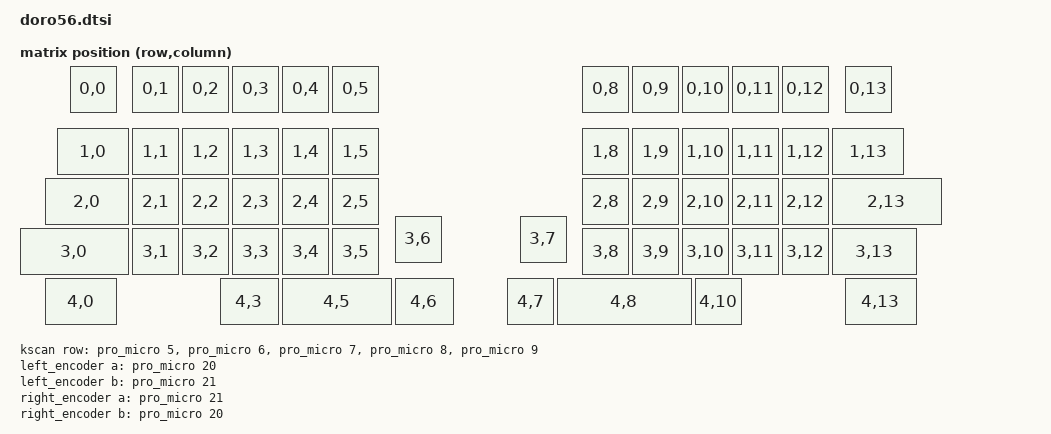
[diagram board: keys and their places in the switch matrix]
#include <physical_layouts.dtsi>
#include <dt-bindings/zmk/matrix_transform.h>

/ {
    chosen {
        zmk,physical-layout = &layout_0;
    };

    transform: keymap_transform {
        compatible = "zmk,matrix-transform";
        columns = <14>;
        rows = <5>;

        map = <
RC(0,0) RC(0,1) RC(0,2) RC(0,3) RC(0,4) RC(0,5)                 RC(0,8) RC(0,9) RC(0,10) RC(0,11) RC(0,12) RC(0,13)
RC(1,0) RC(1,1) RC(1,2) RC(1,3) RC(1,4) RC(1,5)                 RC(1,8) RC(1,9) RC(1,10) RC(1,11) RC(1,12) RC(1,13)
RC(2,0) RC(2,1) RC(2,2) RC(2,3) RC(2,4) RC(2,5)                 RC(2,8) RC(2,9) RC(2,10) RC(2,11) RC(2,12) RC(2,13)
RC(3,0) RC(3,1) RC(3,2) RC(3,3) RC(3,4) RC(3,5) RC(3,6) RC(3,7) RC(3,8) RC(3,9) RC(3,10) RC(3,11) RC(3,12) RC(3,13)
RC(4,0)                 RC(4,3)         RC(4,5) RC(4,6) RC(4,7) RC(4,8)         RC(4,10)                   RC(4,13)
        >;
    };

    kscan: kscan {
        compatible = "zmk,kscan-gpio-matrix";
        diode-direction = "col2row";
        wakeup-source;

        row-gpios
            = <&pro_micro 5 (GPIO_ACTIVE_HIGH | GPIO_PULL_DOWN)> // Row A from the schematic file
            , <&pro_micro 6 (GPIO_ACTIVE_HIGH | GPIO_PULL_DOWN)> // Row B from the schematic file
            , <&pro_micro 7 (GPIO_ACTIVE_HIGH | GPIO_PULL_DOWN)> // Row C from the schematic file
            , <&pro_micro 8 (GPIO_ACTIVE_HIGH | GPIO_PULL_DOWN)> // Row D from the schematic file
            , <&pro_micro 9 (GPIO_ACTIVE_HIGH | GPIO_PULL_DOWN)> // Row E from the schematic file
            ;
    };
    left_encoder: encoder_left {
        compatible = "alps,ec11";
        a-gpios = <&pro_micro 20 (GPIO_ACTIVE_HIGH | GPIO_PULL_UP)>;
        b-gpios = <&pro_micro 21 (GPIO_ACTIVE_HIGH | GPIO_PULL_UP)>;
        steps = <80>;
        status = "disabled";
    };

    right_encoder: encoder_right {
        compatible = "alps,ec11";
        a-gpios = <&pro_micro 21 (GPIO_ACTIVE_HIGH | GPIO_PULL_UP)>;
        b-gpios = <&pro_micro 20 (GPIO_ACTIVE_HIGH | GPIO_PULL_UP)>;
        steps = <80>;
        status = "disabled";
    };

    sensors: sensors {
        compatible = "zmk,keymap-sensors";
        sensors = <&left_encoder &right_encoder>;
        triggers-per-rotation = <20>;
    };

    layout_0: layout_0 {
        compatible = "zmk,physical-layout";
        display-name = "Default";
        kscan = <&kscan>;
        transform = <&transform>;

        keys  //                     w   h    x    y     rot    rx    ry
            = <&key_physical_attrs 100 100  100    0       0     0     0>
            , <&key_physical_attrs 100 100  225    0       0     0     0>
            , <&key_physical_attrs 100 100  325    0       0     0     0>
            , <&key_physical_attrs 100 100  425    0       0     0     0>
            , <&key_physical_attrs 100 100  525    0       0     0     0>
            , <&key_physical_attrs 100 100  625    0       0     0     0>
            , <&key_physical_attrs 100 100 1125    0       0     0     0>
            , <&key_physical_attrs 100 100 1225    0       0     0     0>
            , <&key_physical_attrs 100 100 1325    0       0     0     0>
            , <&key_physical_attrs 100 100 1425    0       0     0     0>
            , <&key_physical_attrs 100 100 1525    0       0     0     0>
            , <&key_physical_attrs 100 100 1650    0       0     0     0>
            , <&key_physical_attrs 150 100   75  125       0     0     0>
            , <&key_physical_attrs 100 100  225  125       0     0     0>
            , <&key_physical_attrs 100 100  325  125       0     0     0>
            , <&key_physical_attrs 100 100  425  125       0     0     0>
            , <&key_physical_attrs 100 100  525  125       0     0     0>
            , <&key_physical_attrs 100 100  625  125       0     0     0>
            , <&key_physical_attrs 100 100 1125  125       0     0     0>
            , <&key_physical_attrs 100 100 1225  125       0     0     0>
            , <&key_physical_attrs 100 100 1325  125       0     0     0>
            , <&key_physical_attrs 100 100 1425  125       0     0     0>
            , <&key_physical_attrs 100 100 1525  125       0     0     0>
            , <&key_physical_attrs 150 100 1625  125       0     0     0>
            , <&key_physical_attrs 175 100   50  225       0     0     0>
            , <&key_physical_attrs 100 100  225  225       0     0     0>
            , <&key_physical_attrs 100 100  325  225       0     0     0>
            , <&key_physical_attrs 100 100  425  225       0     0     0>
            , <&key_physical_attrs 100 100  525  225       0     0     0>
            , <&key_physical_attrs 100 100  625  225       0     0     0>
            , <&key_physical_attrs 100 100 1125  225       0     0     0>
            , <&key_physical_attrs 100 100 1225  225       0     0     0>
            , <&key_physical_attrs 100 100 1325  225       0     0     0>
            , <&key_physical_attrs 100 100 1425  225       0     0     0>
            , <&key_physical_attrs 100 100 1525  225       0     0     0>
            , <&key_physical_attrs 225 100 1625  225       0     0     0>
            , <&key_physical_attrs 225 100    0  325       0     0     0>
            , <&key_physical_attrs 100 100  225  325       0     0     0>
            , <&key_physical_attrs 100 100  325  325       0     0     0>
            , <&key_physical_attrs 100 100  425  325       0     0     0>
            , <&key_physical_attrs 100 100  525  325       0     0     0>
            , <&key_physical_attrs 100 100  625  325       0     0     0>
            , <&key_physical_attrs 100 100  750  300       0     0     0>
            , <&key_physical_attrs 100 100 1000  300       0     0     0>
            , <&key_physical_attrs 100 100 1125  325       0     0     0>
            , <&key_physical_attrs 100 100 1225  325       0     0     0>
            , <&key_physical_attrs 100 100 1325  325       0     0     0>
            , <&key_physical_attrs 100 100 1425  325       0     0     0>
            , <&key_physical_attrs 100 100 1525  325       0     0     0>
            , <&key_physical_attrs 175 100 1625  325       0     0     0>
            , <&key_physical_attrs 150 100   50  425       0     0     0>
            , <&key_physical_attrs 125 100  400  425       0     0     0>
            , <&key_physical_attrs 225 100  525  425       0     0     0>
            , <&key_physical_attrs 125 100  750  425       0     0     0>
            , <&key_physical_attrs 100 100  975  425       0     0     0>
            , <&key_physical_attrs 275 100 1075  425       0     0     0>
            , <&key_physical_attrs 100 100 1350  425       0     0     0>
            , <&key_physical_attrs 150 100 1650  425       0     0     0>
            ;
    };
};

